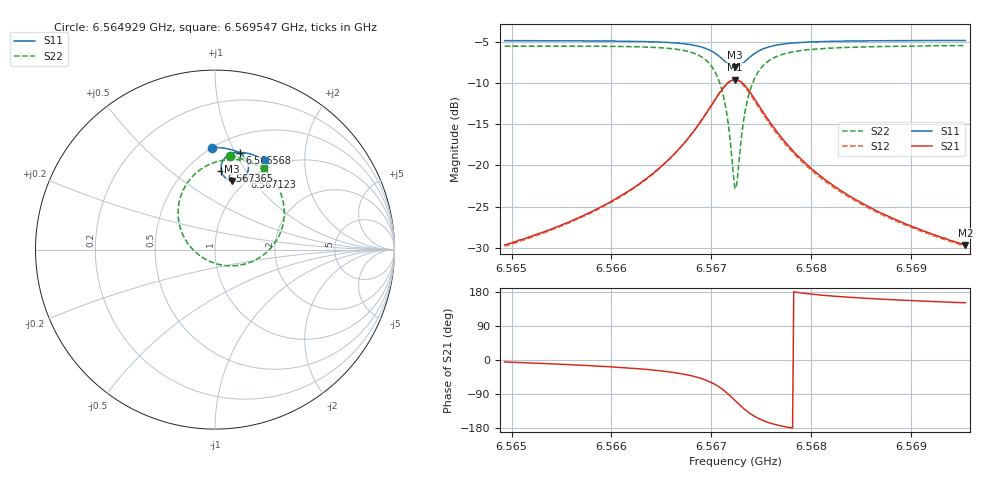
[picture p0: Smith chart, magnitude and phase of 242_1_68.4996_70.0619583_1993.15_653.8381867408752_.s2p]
#  HZ  S  RI  R  50.00
! Rohde & Schwarz Vector Network Analyzer
! Rohde-Schwarz,ZNB20-2Port,1311601062101988,3.16
! Created: UTC 3/20/2024, 5:14:35 PM
! freq[Hz]  re:S11  im:S11  re:S21  im:S21  re:S12  im:S12  re:S22  im:S22
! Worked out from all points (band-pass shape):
!   401 points, 6.564929 GHz to 6.569547 GHz, reference 50 ohm
!   highest |S21| = -9.61 dB at 6.567238 GHz (marker M1); lowest = -29.6 dB at 6.569547 GHz (marker M2)
!   |S21| within 3 dB of the highest: 6.567009 GHz to 6.56747 GHz (461.1 kHz wide, 0.00702 % of centre)
!   lowest |S11| = -8.1 dB at 6.567238 GHz (marker M3), VSWR 2.29, Z = 43.6 + j39.4 ohm
!   |S11| at or under -10 dB: nowhere
!   |S22| runs from -22.8 to -5.5 dB; largest |S21 - S12| = 0.017
!   S11 on the Smith chart (normalised r, x): 6.564929 GHz: 0.50, +0.84; 6.566568 GHz: 0.67, +1.04; 6.567123 GHz: 0.94, +0.94; 6.567365 GHz: 0.72, +0.78; 6.569547 GHz: 0.87, +1.29
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6.5649288e9  -0.0182 0.5688  0.0329 -0.00297  0.0322 -0.00345  0.085 0.5201
6.5657024e9  0.0476 0.5656  0.0478 -0.0119  0.047 -0.0124  0.1654 0.5005
6.5661411e9  0.0891 0.5576  0.0638 -0.0241  0.0628 -0.0248  0.2246 0.4738
6.566476e9  0.1255 0.5439  0.0846 -0.0451  0.0833 -0.0462  0.2853 0.4302
6.5665683e9  0.1368 0.5377  0.0923 -0.0555  0.091 -0.0567  0.3061 0.4097
6.5667877e9  0.1661 0.5126  0.1141 -0.0983  0.1122 -0.1006  0.3607 0.3259
6.5669494e9  0.1847 0.4745  0.1225 -0.1656  0.1193 -0.1694  0.386 0.1961
6.5670533e9  0.1828 0.4337  0.1011 -0.2371  0.0941 -0.242  0.3481 0.0605
6.5671226e9  0.164 0.4025  0.054 -0.2902  0.0426 -0.2939  0.259 -0.0376
6.5671688e9  0.1403 0.3861  0.00205 -0.3163  -0.0123 -0.3169  0.1615 -0.0819
6.5672149e9  0.1089 0.3797  -0.0624 -0.323  -0.078 -0.3183  0.0437 -0.0871
6.567238e9  0.0926 0.3817  -0.0958 -0.3165  -0.1108 -0.309  -0.0155 -0.071
6.5672611e9  0.0769 0.3873  -0.127 -0.3036  -0.1409 -0.2937  -0.0694 -0.0439
6.5673189e9  0.047 0.413  -0.1869 -0.2506  -0.1955 -0.2364  -0.167 0.0589
6.567365e9  0.0357 0.4391  -0.2112 -0.1994  -0.2149 -0.1849  -0.2009 0.1521
6.5674574e9  0.0388 0.4841  -0.2127 -0.1123  -0.2106 -0.1012  -0.1885 0.3039
6.567596e9  0.0667 0.5213  -0.1752 -0.0406  -0.1711 -0.0346  -0.1085 0.4239
6.5677576e9  0.0991 0.5374  -0.1344 -0.0069  -0.1309 -0.0037  -0.0249 0.4777
6.5680116e9  0.1381 0.5421  -0.0942 0.0106  -0.0918 0.012  0.0633 0.5002
6.568358e9  0.1779 0.5371  -0.0649 0.0162  -0.0632 0.017  0.1373 0.4996
6.5687853e9  0.2174 0.5256  -0.0458 0.017  -0.0447 0.0174  0.1975 0.4867
6.5695473e9  0.2765 0.4992  -0.0288 0.0159  -0.0282 0.0161  0.2729 0.4559
